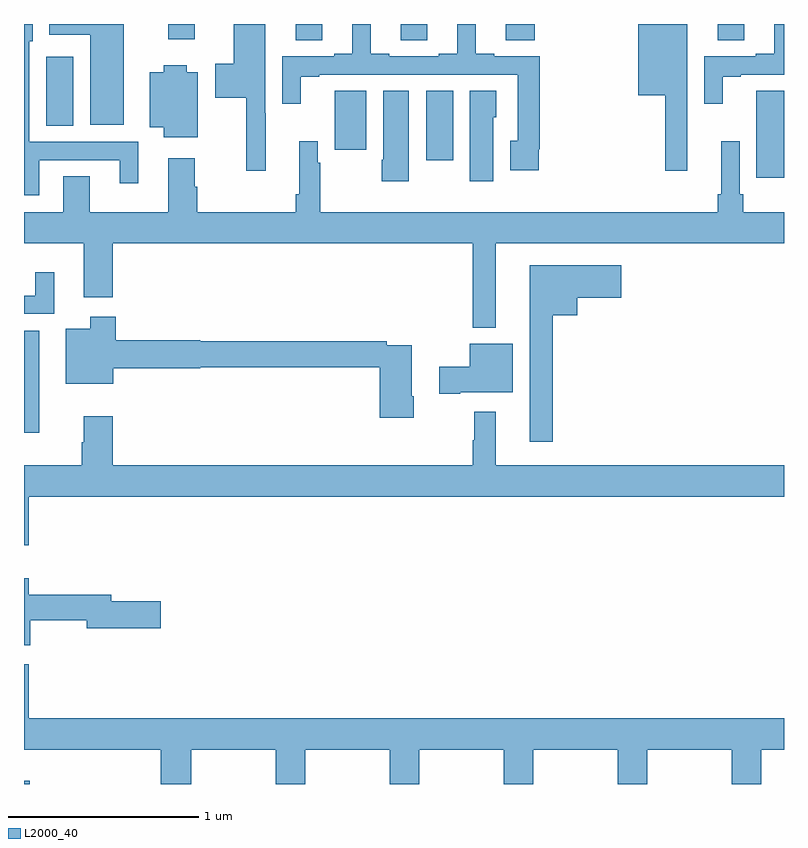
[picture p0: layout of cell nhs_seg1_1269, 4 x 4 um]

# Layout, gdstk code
import gdstk
lib = gdstk.Library(unit=1e-6, precision=1e-09)
def R(c, l, rs):  # rectangles x0, y0, x1, y1
    for r in rs: c.add(gdstk.rectangle(r[:2], r[2:], *l))
def P(c, l, *ps):  # polygons
    for p in ps: c.add(gdstk.Polygon(p, *l))
L2000_40 = (2000, 40)

nhs_seg1_1269 = lib.new_cell('nhs_seg1_1269')
R(nhs_seg1_1269, L2000_40, [(179,570.199,179.029,570.217), (179,572.048,179.08,572.584), (182.855,573.39,183,573.848), (181.118,573.483,181.258,573.848), (180.635,573.537,180.802,573.848), (179.117,573.664,179.26,574.027), (180.431,574.114,180.571,574.199), (180.983,574.114,181.123,574.199), (181.535,574.114,181.688,574.199), (182.651,574.114,182.791,574.199), (179.759,574.119,179.899,574.199)])
P(nhs_seg1_1269, L2000_40, [(179.08,573.483),(179.504,573.483),(179.504,573.36),(179.602,573.36),(179.602,573.579),(179.028,573.579),(179.028,574.107),(179.047,574.107),(179.047,574.199),(179,574.199),(179,573.299),(179.08,573.299)],
  [(181.708,573.541),(181.715,573.541),(181.715,574.029),(181.474,574.029),(181.474,574.042),(181.378,574.042),(181.378,574.199),(181.28,574.199),(181.28,574.042),(181.184,574.042),(181.184,574.029),(180.922,574.029),(180.922,574.042),(180.826,574.042),(180.826,574.199),(180.728,574.199),(180.728,574.042),(180.632,574.042),(180.632,574.029),(180.36,574.029),(180.36,573.78),(180.457,573.78),(180.457,573.921),(180.553,573.921),(180.553,573.933),(181.599,573.933),(181.599,573.585),(181.559,573.585),(181.559,573.429),(181.708,573.429)],
  [(182.677,573.921),(182.773,573.921),(182.773,573.933),(183,573.933),(183,574.199),(182.948,574.199),(182.948,574.042),(182.852,574.042),(182.852,574.029),(182.58,574.029),(182.58,573.78),(182.677,573.78)],
  [(180.272,573.728),(180.27,573.728),(180.27,574.026),(180.271,574.026),(180.271,574.199),(180.104,574.199),(180.104,573.99),(180.006,573.99),(180.006,573.812),(180.169,573.812),(180.169,573.426),(180.272,573.426)],
  [(182.492,573.728),(182.49,573.728),(182.49,574.026),(182.491,574.026),(182.491,574.199),(182.234,574.199),(182.234,573.824),(182.374,573.824),(182.374,573.426),(182.492,573.426)],
  [(179.524,574.199),(179.132,574.199),(179.132,574.142),(179.348,574.142),(179.348,573.668),(179.524,573.668)],
  [(179.914,573.946),(179.857,573.946),(179.857,573.982),(179.735,573.982),(179.735,573.946),(179.663,573.946),(179.663,573.656),(179.735,573.656),(179.735,573.602),(179.914,573.602)],
  [(181.024,573.848),(180.89,573.848),(180.89,573.484),(180.883,573.484),(180.883,573.372),(181.024,573.372)],
  [(181.471,573.708),(181.486,573.708),(181.486,573.848),(181.346,573.848),(181.346,573.372),(181.471,573.372)],
  [(181.483,573.044),(183,573.044),(183,573.208),(182.786,573.208),(182.786,573.304),(182.766,573.304),(182.766,573.583),(182.669,573.583),(182.669,573.304),(182.65,573.304),(182.65,573.208),(180.559,573.208),(180.559,573.47),(180.546,573.47),(180.546,573.583),(180.449,573.583),(180.449,573.304),(180.43,573.304),(180.43,573.208),(179.912,573.208),(179.912,573.342),(179.899,573.342),(179.899,573.493),(179.759,573.493),(179.759,573.208),(179.347,573.208),(179.347,573.398),(179.207,573.398),(179.207,573.208),(179,573.208),(179,573.044),(179.315,573.044),(179.315,572.76),(179.468,572.76),(179.468,573.044),(181.362,573.044),(181.362,572.6),(181.483,572.6)],
  [(181.783,572.666),(181.912,572.666),(181.912,572.759),(182.143,572.759),(182.143,572.929),(181.661,572.929),(181.661,572.001),(181.783,572.001)],
  [(179.158,572.893),(179.06,572.893),(179.06,572.769),(179,572.769),(179,572.673),(179.158,572.673)],
  [(181.05,572.239),(181.042,572.239),(181.042,572.508),(180.908,572.508),(180.908,572.528),(179.928,572.528),(179.928,572.534),(179.483,572.534),(179.483,572.659),(179.348,572.659),(179.348,572.596),(179.219,572.596),(179.219,572.306),(179.47,572.306),(179.47,572.387),(179.928,572.387),(179.928,572.392),(180.872,572.392),(180.872,572.127),(181.05,572.127)],
  [(181.297,572.261),(181.573,572.261),(181.573,572.515),(181.346,572.515),(181.346,572.396),(181.185,572.396),(181.185,572.254),(181.297,572.254)],
  [(179.024,571.712),(183,571.712),(183,571.876),(181.483,571.876),(181.483,572.158),(181.369,572.158),(181.369,572.009),(181.362,572.009),(181.362,571.876),(179.468,571.876),(179.468,572.134),(179.315,572.134),(179.315,571.997),(179.303,571.997),(179.303,571.876),(179,571.876),(179,571.455),(179.024,571.455)],
  [(179.034,571.06),(179.33,571.06),(179.33,571.018),(179.719,571.018),(179.719,571.16),(179.458,571.16),(179.458,571.196),(179.026,571.196),(179.026,571.282),(179,571.282),(179,570.93),(179.034,570.93)],
  [(179,570.829),(179,570.38),(179.72,570.38),(179.72,570.199),(179.88,570.199),(179.88,570.38),(180.325,570.38),(180.325,570.199),(180.48,570.199),(180.48,570.38),(180.925,570.38),(180.925,570.199),(181.08,570.199),(181.08,570.38),(181.525,570.38),(181.525,570.199),(181.68,570.199),(181.68,570.38),(182.125,570.38),(182.125,570.199),(182.28,570.199),(182.28,570.38),(182.725,570.38),(182.725,570.199),(182.88,570.199),(182.88,570.38),(183,570.38),(183,570.544),(179.024,570.544),(179.024,570.829)])

lib.write_gds('nhs_seg1_1269.gds')
